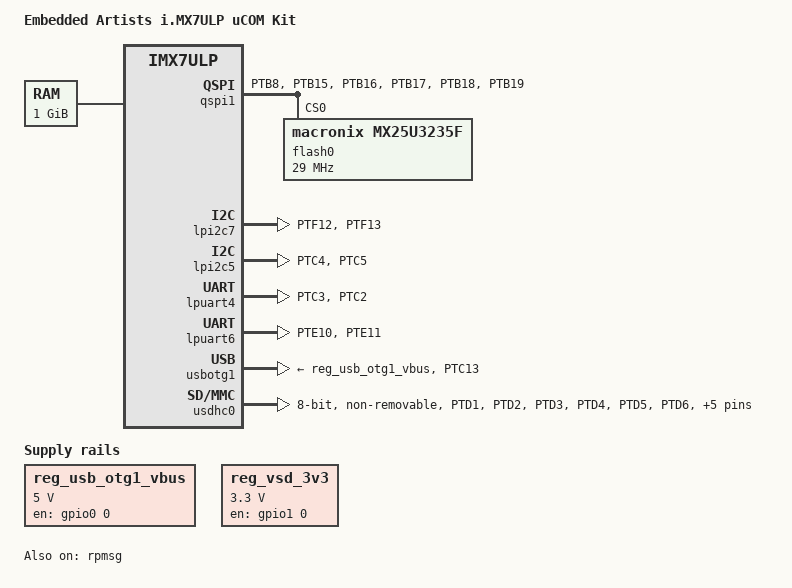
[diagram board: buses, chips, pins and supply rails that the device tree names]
/*
 * Copyright 2016 Freescale Semiconductor, Inc.
 *
 * This program is free software; you can redistribute it and/or modify
 * it under the terms of the GNU General Public License version 2 as
 * published by the Free Software Foundation.
 */

/dts-v1/;

#include "imx7ulp.dtsi"
#include "imx7ulpea-ucom-kit_v2-u-boot.dtsi"

/ {
	model = "Embedded Artists i.MX7ULP uCOM Kit";
	compatible = "fsl,imx7ulpea-ucom", "fsl,imx7ulp", "Generic DT based system";

	chosen {
		bootargs = "console=ttyLP0,115200 earlycon";
		stdout-path = &lpuart4;
	};

	memory {
		device_type = "memory";
		reg = <0x60000000 0x40000000>;
	};

	regulators {
		compatible = "simple-bus";
		#address-cells = <1>;
		#size-cells = <0>;

		reg_usb_otg1_vbus: regulator@0 {
			compatible = "regulator-fixed";
			reg = <0>;
			pinctrl-names = "default";
			pinctrl-0 = <&pinctrl_usbotg1_vbus>;
			regulator-name = "usb_otg1_vbus";
			regulator-min-microvolt = <5000000>;
			regulator-max-microvolt = <5000000>;
			gpio = <&gpio0 0 GPIO_ACTIVE_HIGH>;
			enable-active-high;
		};

		reg_vsd_3v3: regulator@1 {
			compatible = "regulator-fixed";
			reg = <1>;
			regulator-name = "VSD_3V3";
			regulator-min-microvolt = <3300000>;
			regulator-max-microvolt = <3300000>;
			gpio = <&gpio1 0 GPIO_ACTIVE_HIGH>;
			enable-active-high;
		};

	};

};

&qspi1 {
	pinctrl-names = "default";
	pinctrl-0 = <&pinctrl_qspi1_1>;
	status = "okay";

	flash0: mx25u3235f@0 {
		reg = <0>;
		#address-cells = <1>;
		#size-cells = <1>;
		compatible = "macronix,mx25u3235f";
		spi-max-frequency = <29000000>;
	};
};

&iomuxc {
	imx7ulpea-ucom {
		pinctrl_qspi1_1: qspi1grp_1 {
				fsl,pins = <
				IMX7ULP_PAD_PTB8__QSPIA_SS0_B   0x43 /* SS0 */
				IMX7ULP_PAD_PTB15__QSPIA_SCLK   0x43
				IMX7ULP_PAD_PTB16__QSPIA_DATA3  0x43 /* D3 */
				IMX7ULP_PAD_PTB17__QSPIA_DATA2  0x43 /* D2 */
				IMX7ULP_PAD_PTB18__QSPIA_DATA1  0x43 /* D1 */
				IMX7ULP_PAD_PTB19__QSPIA_DATA0  0x43 /* D0 */
			>;
		};
	};
};

&iomuxc1 {
	pinctrl-names = "default";
	pinctrl-0 = <&pinctrl_hog_1 &pinctrl_sys_reset>;

	imx7ulpea-ucom {
		pinctrl_hog_1: hoggrp-1 {
			fsl,pins = <
				IMX7ULP_PAD_PTC1__PTC1		0x20000
			>;
		};

		pinctrl_lpi2c5: lpi2c5grp {
			fsl,pins = <
				IMX7ULP_PAD_PTC4__LPI2C5_SCL	0x27
				IMX7ULP_PAD_PTC5__LPI2C5_SDA	0x27
			>;

		};

		pinctrl_lpuart4: lpuart4grp {
			fsl,pins = <
				IMX7ULP_PAD_PTC3__LPUART4_RX	0x3
				IMX7ULP_PAD_PTC2__LPUART4_TX	0x3
			>;
		};

		pinctrl_lpuart6: lpuart6grp {
			fsl,pins = <
				IMX7ULP_PAD_PTE10__LPUART6_TX	0x3
				IMX7ULP_PAD_PTE11__LPUART6_RX	0x3
			>;
		};

		pinctrl_lpuart7: lpuart7grp {
			fsl,pins = <
				IMX7ULP_PAD_PTF14__LPUART7_TX		0x3
				IMX7ULP_PAD_PTF15__LPUART7_RX		0x3
				IMX7ULP_PAD_PTF13__LPUART7_RTS_B	0x3
				IMX7ULP_PAD_PTF12__LPUART7_CTS_B	0x3
			>;
		};

		pinctrl_usdhc0: usdhc0grp {
			fsl,pins = <
				IMX7ULP_PAD_PTD1__SDHC0_CMD	0x43
				IMX7ULP_PAD_PTD2__SDHC0_CLK	0x10042
				IMX7ULP_PAD_PTD7__SDHC0_D3	0x43
				IMX7ULP_PAD_PTD8__SDHC0_D2	0x43
				IMX7ULP_PAD_PTD9__SDHC0_D1	0x43
				IMX7ULP_PAD_PTD10__SDHC0_D0	0x43
				IMX7ULP_PAD_PTD0__PTD0		0x20000	/* USDHC0 RST */
			>;
		};

		pinctrl_usdhc0_8bit: usdhc0grp_8bit {
			fsl,pins = <
				IMX7ULP_PAD_PTD1__SDHC0_CMD	0x43
				IMX7ULP_PAD_PTD2__SDHC0_CLK	0x10042
				IMX7ULP_PAD_PTD3__SDHC0_D7	0x43
				IMX7ULP_PAD_PTD4__SDHC0_D6	0x43
				IMX7ULP_PAD_PTD5__SDHC0_D5	0x43
				IMX7ULP_PAD_PTD6__SDHC0_D4	0x43
				IMX7ULP_PAD_PTD7__SDHC0_D3	0x43
				IMX7ULP_PAD_PTD8__SDHC0_D2	0x43
				IMX7ULP_PAD_PTD9__SDHC0_D1	0x43
				IMX7ULP_PAD_PTD10__SDHC0_D0	0x43
				IMX7ULP_PAD_PTD11__SDHC0_DQS	0x42
			>;
		};

		pinctrl_lpi2c7: lpi2c7grp {
			fsl,pins = <
				IMX7ULP_PAD_PTF12__LPI2C7_SCL	0x27
				IMX7ULP_PAD_PTF13__LPI2C7_SDA	0x27
			>;
		};

		pinctrl_usbotg1_vbus: otg1vbusgrp {
			fsl,pins = <
				IMX7ULP_PAD_PTC0__PTC0		0x20000
			>;
		};

		pinctrl_usbotg1_id: otg1idgrp {
			fsl,pins = <
				IMX7ULP_PAD_PTC13__USB0_ID	0x10003
			>;
		};

		pinctrl_sys_reset: sysrstgrp {
			fsl,pins = <
				IMX7ULP_PAD_PTC10__PTC10        0x20000 /* SYS_RESET */
			>;
		};
	};
};

&lpi2c7 {
	#address-cells = <1>;
	#size-cells = <0>;
	pinctrl-names = "default";
	pinctrl-0 = <&pinctrl_lpi2c7>;
	status = "okay";
};

&lpi2c5 {
	#address-cells = <1>;
	#size-cells = <0>;
	pinctrl-names = "default";
	pinctrl-0 = <&pinctrl_lpi2c5>;
	status = "okay";
};

&lpuart4 { /* console */
	pinctrl-names = "default";
	pinctrl-0 = <&pinctrl_lpuart4>;
	status = "okay";
};

&lpuart6 {
	pinctrl-names = "default";
	pinctrl-0 = <&pinctrl_lpuart6>;
	status = "okay";
};

&lpuart7 {
	pinctrl-names = "default";
	pinctrl-0 = <&pinctrl_lpuart7>;
	status = "disabled";
};

&rpmsg{
	status = "okay";
};

&usbotg1 {
	vbus-supply = <&reg_usb_otg1_vbus>;
	pinctrl-names = "default";
	pinctrl-0 = <&pinctrl_usbotg1_id>;
	srp-disable;
	hnp-disable;
	adp-disable;
	status = "okay";
};

&usbphy1 {
	fsl,tx-d-cal = <88>;
};

&usdhc0 {
	pinctrl-names = "default", "state_100mhz", "state_200mhz", "sleep";
	pinctrl-0 = <&pinctrl_usdhc0_8bit>;
	pinctrl-1 = <&pinctrl_usdhc0_8bit>;
	pinctrl-2 = <&pinctrl_usdhc0_8bit>;
	pinctrl-3 = <&pinctrl_usdhc0_8bit>;
	non-removable;
	bus-width = <8>;
	status = "okay";
};
